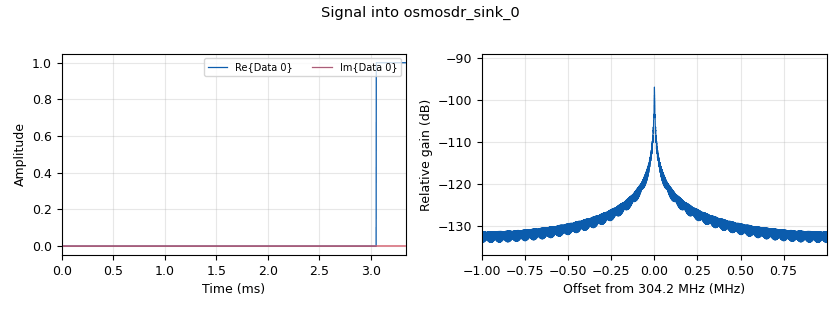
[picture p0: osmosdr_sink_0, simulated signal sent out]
<?xml version='1.0' encoding='utf-8'?>
<?grc format='1' created='3.7.13'?>
<flow_graph>
<block>
<key>options</key>
<param><key>id</key><value>top_block</value></param>
<param><key>generate_options</key><value>wx_gui</value></param>
</block>
<block>
<key>variable</key>
<param><key>id</key><value>channel_spacing</value></param>
<param><key>value</key><value>200000</value></param>
</block>
<block>
<key>variable</key>
<param><key>id</key><value>channel_trans</value></param>
<param><key>value</key><value>80000</value></param>
</block>
<block>
<key>variable</key>
<param><key>id</key><value>command</value></param>
<param><key>value</key><value>command_fast</value></param>
</block>
<block>
<key>variable</key>
<param><key>id</key><value>command_fast</value></param>
<param><key>value</key><value>"10000"</value></param>
</block>
<block>
<key>variable</key>
<param><key>id</key><value>command_light</value></param>
<param><key>value</key><value>"10010"</value></param>
</block>
<block>
<key>variable</key>
<param><key>id</key><value>command_medium</value></param>
<param><key>value</key><value>"01000"</value></param>
</block>
<block>
<key>variable</key>
<param><key>id</key><value>command_off</value></param>
<param><key>value</key><value>"10100"</value></param>
</block>
<block>
<key>variable</key>
<param><key>id</key><value>command_slow</value></param>
<param><key>value</key><value>"00100"</value></param>
</block>
<block>
<key>variable</key>
<param><key>id</key><value>data_rate</value></param>
<param><key>value</key><value>2950</value></param>
</block>
<block>
<key>variable</key>
<param><key>id</key><value>dips</value></param>
<param><key>value</key><value>"00100000"</value></param>
</block>
<block>
<key>variable</key>
<param><key>id</key><value>freq</value></param>
<param><key>value</key><value>304.2e6</value></param>
</block>
<block>
<key>variable</key>
<param><key>id</key><value>freq_offset</value></param>
<param><key>value</key><value>120000</value></param>
</block>
<block>
<key>variable</key>
<param><key>id</key><value>fsk_deviation_hz</value></param>
<param><key>value</key><value>32000</value></param>
</block>
<block>
<key>variable</key>
<param><key>id</key><value>packet</value></param>
<param><key>value</key><value>"".join([ "10" + x for x in dips + command ])</value></param>
</block>
<block>
<key>variable</key>
<param><key>id</key><value>per_samp</value></param>
<param><key>value</key><value>4</value></param>
</block>
<block>
<key>variable</key>
<param><key>id</key><value>samp_per_sym</value></param>
<param><key>value</key><value>samp_rate/data_rate</value></param>
</block>
<block>
<key>variable</key>
<param><key>id</key><value>samp_rate</value></param>
<param><key>value</key><value>2e6</value></param>
</block>
<block>
<key>variable</key>
<param><key>id</key><value>spacing</value></param>
<param><key>value</key><value>20</value></param>
</block>
<block>
<key>blocks_float_to_complex</key>
<param><key>id</key><value>blocks_float_to_complex_0</value></param>
</block>
<block>
<key>blocks_moving_average_xx</key>
<param><key>id</key><value>blocks_moving_average_xx_0</value></param>
<param><key>length</key><value>int(samp_per_sym / per_samp)</value></param>
<param><key>max_iter</key><value>4000</value></param>
<param><key>scale</key><value>1</value></param>
<param><key>type</key><value>float</value></param>
</block>
<block>
<key>blocks_null_sink</key>
<param><key>id</key><value>blocks_null_sink_0</value></param>
<param><key>bus_conns</key><value>[[0,],]</value></param>
<param><key>_enabled</key><value>0</value></param>
<param><key>type</key><value>complex</value></param>
</block>
<block>
<key>blocks_throttle</key>
<param><key>id</key><value>blocks_throttle_0</value></param>
<param><key>_enabled</key><value>0</value></param>
<param><key>samples_per_second</key><value>samp_rate</value></param>
<param><key>type</key><value>complex</value></param>
</block>
<block>
<key>blocks_uchar_to_float</key>
<param><key>id</key><value>blocks_uchar_to_float_0</value></param>
</block>
<block>
<key>blocks_unpack_k_bits_bb</key>
<param><key>id</key><value>blocks_unpack_k_bits_bb_0</value></param>
<param><key>k</key><value>per_samp</value></param>
</block>
<block>
<key>blocks_vector_source_x</key>
<param><key>id</key><value>blocks_vector_source_x_0</value></param>
<param><key>type</key><value>byte</value></param>
<param><key>repeat</key><value>True</value></param>
<param><key>vector</key><value>[ int (x) for x in packet ] + [ 2 ] * spacing</value></param>
</block>
<block>
<key>digital_map_bb</key>
<param><key>id</key><value>digital_map_bb_0</value></param>
<param><key>map</key><value>[0, 255, 0x0]</value></param>
</block>
<block>
<key>osmosdr_sink</key>
<param><key>id</key><value>osmosdr_sink_0</value></param>
<param><key>bb_gain0</key><value>20</value></param>
<param><key>freq0</key><value>freq</value></param>
<param><key>if_gain0</key><value>20</value></param>
<param><key>gain0</key><value>10</value></param>
<param><key>args</key><value>hackrf</value></param>
<param><key>type</key><value>fc32</value></param>
<param><key>sample_rate</key><value>samp_rate</value></param>
<param><key>sync</key><value></value></param>
</block>
<block>
<key>rational_resampler_xxx</key>
<param><key>id</key><value>rational_resampler_xxx_0</value></param>
<param><key>decim</key><value>1</value></param>
<param><key>fbw</key><value>4</value></param>
<param><key>interp</key><value>int(samp_per_sym / per_samp)</value></param>
<param><key>taps</key><value>1</value></param>
<param><key>type</key><value>fff</value></param>
</block>
<connection><source_block_id>blocks_float_to_complex_0</source_block_id><sink_block_id>blocks_throttle_0</sink_block_id><source_key>0</source_key><sink_key>0</sink_key></connection>
<connection><source_block_id>blocks_float_to_complex_0</source_block_id><sink_block_id>osmosdr_sink_0</sink_block_id><source_key>0</source_key><sink_key>0</sink_key></connection>
<connection><source_block_id>blocks_moving_average_xx_0</source_block_id><sink_block_id>blocks_float_to_complex_0</sink_block_id><source_key>0</source_key><sink_key>0</sink_key></connection>
<connection><source_block_id>blocks_throttle_0</source_block_id><sink_block_id>blocks_null_sink_0</sink_block_id><source_key>0</source_key><sink_key>0</sink_key></connection>
<connection><source_block_id>blocks_uchar_to_float_0</source_block_id><sink_block_id>rational_resampler_xxx_0</sink_block_id><source_key>0</source_key><sink_key>0</sink_key></connection>
<connection><source_block_id>blocks_unpack_k_bits_bb_0</source_block_id><sink_block_id>blocks_uchar_to_float_0</sink_block_id><source_key>0</source_key><sink_key>0</sink_key></connection>
<connection><source_block_id>blocks_vector_source_x_0</source_block_id><sink_block_id>digital_map_bb_0</sink_block_id><source_key>0</source_key><sink_key>0</sink_key></connection>
<connection><source_block_id>digital_map_bb_0</source_block_id><sink_block_id>blocks_unpack_k_bits_bb_0</sink_block_id><source_key>0</source_key><sink_key>0</sink_key></connection>
<connection><source_block_id>rational_resampler_xxx_0</source_block_id><sink_block_id>blocks_moving_average_xx_0</sink_block_id><source_key>0</source_key><sink_key>0</sink_key></connection>
</flow_graph>
